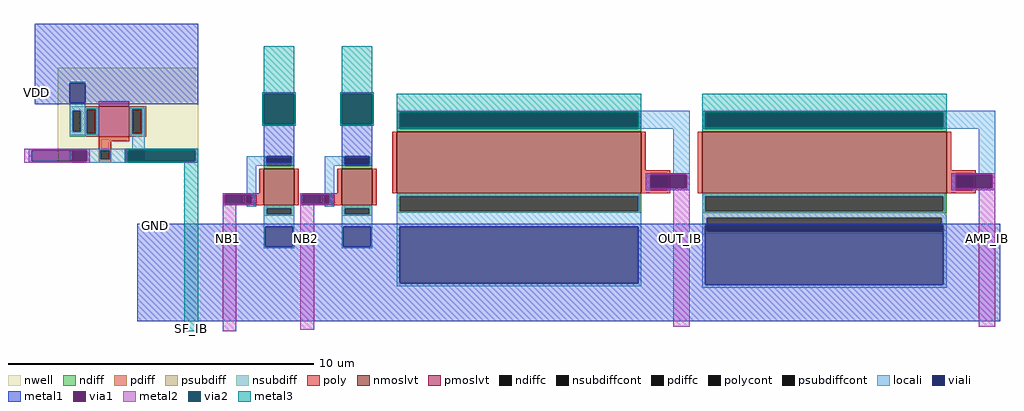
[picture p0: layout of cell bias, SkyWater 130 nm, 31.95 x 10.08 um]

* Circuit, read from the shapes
.subckt bias VDD NB1 NB2 OUT_IB AMP_IB GND SF_IB
XM1 NB1 NB1 GND GND sky130_fd_pr__nfet_01v8_lvt w=1 l=1.2
XM2 NB2 NB2 GND GND sky130_fd_pr__nfet_01v8_lvt w=1 l=1.2
XM3 OUT_IB OUT_IB GND GND sky130_fd_pr__nfet_01v8_lvt w=8 l=2
XM4 AMP_IB AMP_IB GND GND sky130_fd_pr__nfet_01v8_lvt w=8 l=2
XM5 SF_IB SF_IB VDD VDD sky130_fd_pr__pfet_01v8_lvt w=1 l=1
.ends

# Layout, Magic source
magic
tech sky130A
<< nwell >>
rect 505 -566 965 -255
<< pmoslvt >>
rect 640 -480 740 -380
<< nmoslvt >>
rect 1180 -705 1280 -585
rect 1435 -705 1535 -585
rect 1615 -665 2415 -465
rect 2615 -665 3415 -465
<< ndiff >>
rect 1615 -405 2415 -395
rect 1615 -455 1625 -405
rect 2405 -455 2415 -405
rect 1615 -465 2415 -455
rect 2615 -405 3415 -395
rect 2615 -455 2625 -405
rect 3405 -455 3415 -405
rect 2615 -465 3415 -455
rect 1180 -555 1280 -550
rect 1180 -575 1190 -555
rect 1270 -575 1280 -555
rect 1180 -585 1280 -575
rect 1435 -555 1535 -550
rect 1435 -575 1445 -555
rect 1525 -575 1535 -555
rect 1435 -585 1535 -575
rect 1615 -675 2415 -665
rect 1180 -715 1280 -705
rect 1180 -735 1190 -715
rect 1270 -735 1280 -715
rect 1180 -740 1280 -735
rect 1435 -715 1535 -705
rect 1435 -735 1445 -715
rect 1525 -735 1535 -715
rect 1615 -725 1625 -675
rect 2405 -725 2415 -675
rect 1615 -730 2415 -725
rect 2615 -675 3415 -665
rect 2615 -725 2625 -675
rect 3405 -725 3415 -675
rect 2615 -730 3415 -725
rect 1435 -740 1535 -735
<< pdiff >>
rect 595 -390 640 -380
rect 595 -470 600 -390
rect 630 -470 640 -390
rect 595 -480 640 -470
rect 740 -390 795 -380
rect 740 -470 750 -390
rect 780 -470 795 -390
rect 740 -480 795 -470
<< ndiffc >>
rect 1625 -455 2405 -405
rect 2625 -455 3405 -405
rect 1190 -575 1270 -555
rect 1445 -575 1525 -555
rect 1190 -735 1270 -715
rect 1445 -735 1525 -715
rect 1625 -725 2405 -675
rect 2625 -725 3405 -675
<< pdiffc >>
rect 600 -470 630 -390
rect 750 -470 780 -390
<< psubdiff >>
rect 2615 -745 3415 -730
rect 2615 -790 2630 -745
rect 3400 -790 3415 -745
rect 2615 -800 3415 -790
<< nsubdiff >>
rect 545 -395 595 -380
rect 545 -465 555 -395
rect 580 -465 595 -395
rect 545 -480 595 -465
<< psubdiffcont >>
rect 2630 -790 3400 -745
<< nsubdiffcont >>
rect 555 -465 580 -395
<< poly >>
rect 640 -380 740 -365
rect 640 -495 740 -480
rect 640 -525 680 -495
rect 640 -555 645 -525
rect 675 -555 680 -525
rect 640 -565 680 -555
rect 1165 -665 1180 -585
rect 1115 -670 1180 -665
rect 1115 -700 1125 -670
rect 1155 -700 1180 -670
rect 1115 -705 1180 -700
rect 1280 -705 1295 -585
rect 1420 -665 1435 -585
rect 1370 -670 1435 -665
rect 1370 -700 1380 -670
rect 1410 -700 1435 -670
rect 1370 -705 1435 -700
rect 1535 -705 1550 -585
rect 1600 -665 1615 -465
rect 2415 -590 2430 -465
rect 2415 -600 2510 -590
rect 2415 -655 2445 -600
rect 2500 -655 2510 -600
rect 2415 -665 2510 -655
rect 2600 -665 2615 -465
rect 3415 -590 3430 -465
rect 3415 -600 3510 -590
rect 3415 -655 3445 -600
rect 3500 -655 3510 -600
rect 3415 -665 3510 -655
<< polycont >>
rect 645 -555 675 -525
rect 1125 -700 1155 -670
rect 1380 -700 1410 -670
rect 2445 -655 2500 -600
rect 3445 -655 3500 -600
<< locali >>
rect 545 -305 595 -300
rect 545 -385 595 -370
rect 545 -390 640 -385
rect 545 -395 600 -390
rect 545 -465 555 -395
rect 580 -465 600 -395
rect 545 -470 600 -465
rect 630 -470 640 -390
rect 545 -475 640 -470
rect 740 -390 790 -385
rect 740 -470 750 -390
rect 780 -470 790 -390
rect 1615 -405 2575 -395
rect 1615 -455 1625 -405
rect 2405 -455 2575 -405
rect 2615 -405 3575 -395
rect 2615 -455 2625 -405
rect 3405 -455 3575 -405
rect 740 -475 790 -470
rect 750 -520 790 -475
rect 545 -525 790 -520
rect 545 -560 555 -525
rect 600 -555 645 -525
rect 675 -555 735 -525
rect 600 -560 735 -555
rect 545 -565 790 -560
rect 1125 -575 1190 -545
rect 1270 -575 1280 -545
rect 1380 -575 1445 -545
rect 1525 -575 1535 -545
rect 1125 -665 1155 -575
rect 1380 -665 1410 -575
rect 2520 -600 2575 -455
rect 3520 -600 3575 -455
rect 2430 -655 2445 -600
rect 2500 -605 2575 -600
rect 2560 -650 2575 -605
rect 2500 -655 2575 -650
rect 3430 -655 3445 -600
rect 3500 -605 3575 -600
rect 3560 -650 3575 -605
rect 3500 -655 3575 -650
rect 1090 -670 1155 -665
rect 1110 -700 1125 -670
rect 1090 -705 1155 -700
rect 1300 -670 1410 -665
rect 1300 -700 1310 -670
rect 1365 -700 1380 -670
rect 1300 -705 1410 -700
rect 1615 -675 2410 -665
rect 1125 -710 1155 -705
rect 1180 -715 1280 -705
rect 1380 -710 1410 -705
rect 1180 -735 1190 -715
rect 1270 -735 1280 -715
rect 1180 -775 1280 -735
rect 1180 -840 1185 -775
rect 1275 -840 1280 -775
rect 1180 -845 1280 -840
rect 1435 -715 1535 -705
rect 1435 -735 1445 -715
rect 1525 -735 1535 -715
rect 1435 -775 1535 -735
rect 1435 -840 1440 -775
rect 1530 -840 1535 -775
rect 1435 -845 1535 -840
rect 1615 -725 1625 -675
rect 2405 -725 2410 -675
rect 1615 -730 2410 -725
rect 2615 -675 3410 -665
rect 2615 -725 2625 -675
rect 3405 -725 3410 -675
rect 1615 -775 2415 -730
rect 1615 -960 1625 -775
rect 2405 -960 2415 -775
rect 1615 -970 2415 -960
rect 2615 -738 3410 -725
rect 2615 -745 3415 -738
rect 2615 -770 2630 -745
rect 3400 -770 3415 -745
rect 2615 -965 2625 -770
rect 3405 -965 3415 -770
rect 2615 -975 3415 -965
<< viali >>
rect 545 -370 595 -305
rect 1625 -450 2405 -405
rect 2625 -450 3405 -405
rect 555 -560 600 -525
rect 735 -560 790 -525
rect 1190 -555 1270 -545
rect 1190 -565 1270 -555
rect 1445 -555 1525 -545
rect 1445 -570 1525 -555
rect 2445 -650 2500 -605
rect 2500 -650 2560 -605
rect 3445 -650 3500 -605
rect 3500 -650 3560 -605
rect 1055 -700 1110 -670
rect 1310 -700 1365 -670
rect 1185 -840 1275 -775
rect 1440 -840 1530 -775
rect 1625 -960 2405 -775
rect 2625 -790 2630 -770
rect 2630 -790 3400 -770
rect 3400 -790 3405 -770
rect 2625 -965 3405 -790
<< metal1 >>
rect 430 -305 965 -110
rect 430 -370 545 -305
rect 595 -370 965 -305
rect 430 -375 965 -370
rect 1180 -340 1280 -337
rect 410 -525 610 -520
rect 410 -560 420 -525
rect 600 -560 610 -525
rect 410 -565 610 -560
rect 725 -525 965 -520
rect 725 -560 730 -525
rect 955 -560 965 -525
rect 725 -565 965 -560
rect 1180 -545 1280 -440
rect 1180 -565 1190 -545
rect 1270 -565 1280 -545
rect 1180 -575 1280 -565
rect 1435 -340 1535 -337
rect 1435 -545 1535 -440
rect 1615 -400 2415 -395
rect 1615 -450 1625 -400
rect 2405 -450 2415 -400
rect 1615 -455 2415 -450
rect 2615 -400 3415 -395
rect 2615 -450 2625 -400
rect 3405 -450 3415 -400
rect 2615 -455 3415 -450
rect 1435 -570 1445 -545
rect 1525 -570 1535 -545
rect 1435 -575 1535 -570
rect 2430 -605 2575 -600
rect 2430 -650 2445 -605
rect 2565 -650 2575 -605
rect 2430 -655 2575 -650
rect 3430 -605 3575 -600
rect 3430 -650 3445 -605
rect 3565 -650 3575 -605
rect 3430 -655 3575 -650
rect 1045 -670 1155 -665
rect 1045 -700 1050 -670
rect 1140 -700 1155 -670
rect 1045 -705 1155 -700
rect 1300 -670 1410 -665
rect 1300 -700 1305 -670
rect 1395 -700 1410 -670
rect 1300 -705 1410 -700
rect 765 -770 3590 -765
rect 765 -775 2625 -770
rect 765 -840 1185 -775
rect 1275 -840 1440 -775
rect 1530 -840 1625 -775
rect 765 -960 1625 -840
rect 2405 -960 2625 -775
rect 765 -965 2625 -960
rect 3405 -965 3590 -770
rect 765 -1085 3590 -965
<< via1 >>
rect 1180 -440 1280 -340
rect 420 -560 555 -525
rect 555 -560 600 -525
rect 730 -560 735 -525
rect 735 -560 790 -525
rect 790 -560 955 -525
rect 1435 -440 1535 -340
rect 1625 -405 2405 -400
rect 1625 -450 2405 -405
rect 2625 -405 3405 -400
rect 2625 -450 3405 -405
rect 2445 -650 2560 -605
rect 2560 -650 2565 -605
rect 3445 -650 3560 -605
rect 3560 -650 3565 -605
rect 1050 -700 1055 -670
rect 1055 -700 1110 -670
rect 1110 -700 1140 -670
rect 1305 -700 1310 -670
rect 1310 -700 1365 -670
rect 1365 -700 1395 -670
<< metal2 >>
rect 1175 -340 1285 -335
rect 1175 -440 1180 -340
rect 1280 -440 1285 -340
rect 1175 -445 1285 -440
rect 1430 -340 1540 -335
rect 1430 -440 1435 -340
rect 1535 -440 1540 -340
rect 1430 -445 1540 -440
rect 1615 -400 2415 -395
rect 1615 -450 1625 -400
rect 2405 -450 2415 -400
rect 1615 -455 2415 -450
rect 2615 -400 3415 -395
rect 2615 -450 2625 -400
rect 3405 -450 3415 -400
rect 2615 -455 3415 -450
rect 395 -525 610 -520
rect 395 -560 420 -525
rect 600 -560 610 -525
rect 395 -565 610 -560
rect 725 -525 965 -520
rect 725 -560 730 -525
rect 955 -560 965 -525
rect 725 -565 965 -560
rect 2430 -605 2575 -600
rect 2430 -650 2445 -605
rect 2565 -650 2575 -605
rect 2430 -655 2575 -650
rect 3430 -605 3575 -600
rect 3430 -650 3445 -605
rect 3565 -650 3575 -605
rect 3430 -655 3575 -650
rect 1045 -670 1155 -665
rect 1045 -700 1050 -670
rect 1140 -700 1155 -670
rect 1045 -705 1155 -700
rect 1300 -670 1410 -665
rect 1300 -700 1305 -670
rect 1395 -700 1410 -670
rect 1300 -705 1410 -700
rect 1045 -1117 1090 -705
rect 1300 -1112 1345 -705
rect 2520 -1102 2575 -655
rect 3520 -1102 3575 -655
<< via2 >>
rect 1180 -440 1280 -340
rect 1435 -440 1535 -340
rect 1625 -450 2405 -400
rect 2625 -450 3405 -400
rect 735 -560 955 -525
<< metal3 >>
rect 1180 -335 1280 -185
rect 1435 -335 1535 -185
rect 1175 -340 1285 -335
rect 1175 -440 1180 -340
rect 1280 -440 1285 -340
rect 1175 -445 1285 -440
rect 1430 -340 1540 -335
rect 1430 -440 1435 -340
rect 1535 -440 1540 -340
rect 1430 -445 1540 -440
rect 1615 -400 2415 -340
rect 1615 -450 1625 -400
rect 2405 -450 2415 -400
rect 1615 -455 2415 -450
rect 2615 -400 3415 -340
rect 2615 -450 2625 -400
rect 3405 -450 3415 -400
rect 2615 -455 3415 -450
rect 725 -525 965 -520
rect 725 -560 735 -525
rect 955 -560 965 -525
rect 725 -565 965 -560
rect 920 -1118 965 -565
<< labels >>
rlabel metal1 435 -335 435 -335 1 VDD
port 1 n
rlabel metal2 1065 -815 1065 -815 1 NB1
port 4 n
rlabel metal2 1320 -815 1320 -815 1 NB2
port 5 n
rlabel metal2 2545 -815 2545 -815 1 OUT_IB
port 6 n
rlabel metal2 3550 -815 3550 -815 1 AMP_IB
port 7 n
rlabel metal1 825 -770 825 -770 1 GND
port 12 n
rlabel metal3 920 -1118 965 -1100 1 SF_IB
port 13 n
<< end >>
